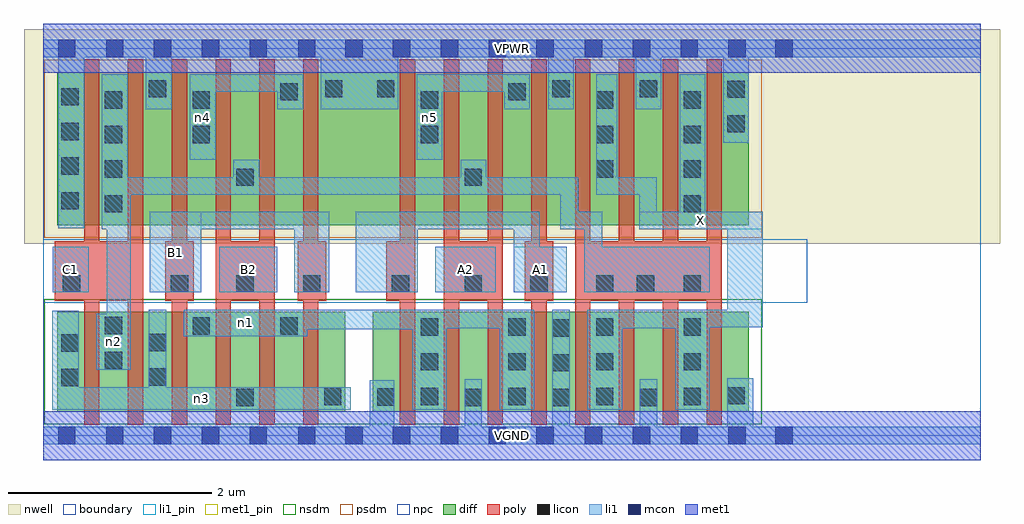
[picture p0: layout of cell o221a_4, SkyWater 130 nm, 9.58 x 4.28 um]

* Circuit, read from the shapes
.subckt o221a_4 A1 A2 B1 B2 C1 VGND VPWR X n1 n2 n3 n4 n5
XM1 n2 C1 n3 VSUBS sky130_fd_pr__nfet_01v8 w=0.98 l=0.15 m=2
XM2 n1 B1 n3 VSUBS sky130_fd_pr__nfet_01v8 w=0.98 l=0.15 m=2
XM3 n3 B2 n1 VSUBS sky130_fd_pr__nfet_01v8 w=0.98 l=0.15 m=2
XM4 n1 A1 VGND VSUBS sky130_fd_pr__nfet_01v8 w=0.98 l=0.15 m=2
XM5 VGND A2 n1 VSUBS sky130_fd_pr__nfet_01v8 w=0.98 l=0.15 m=2
XM6 X n2 VGND VSUBS sky130_fd_pr__nfet_01v8 w=0.98 l=0.15 m=4
XM7 n2 C1 VPWR n6 sky130_fd_pr__pfet_01v8 w=1.5 l=0.15 m=2
XM8 n4 B1 VPWR n6 sky130_fd_pr__pfet_01v8 w=1.5 l=0.15 m=2
XM9 n2 B2 n4 n6 sky130_fd_pr__pfet_01v8 w=1.5 l=0.15 m=2
XM10 n5 A1 VPWR n6 sky130_fd_pr__pfet_01v8 w=1.5 l=0.15 m=2
XM11 n2 A2 n5 n6 sky130_fd_pr__pfet_01v8 w=1.5 l=0.15 m=2
XM12 X n2 VPWR n6 sky130_fd_pr__pfet_01v8 w=1.5 l=0.15 m=4
.ends

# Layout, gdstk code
import gdstk
lib = gdstk.Library(unit=1e-6, precision=1e-09)
def R(c, l, rs):  # rectangles x0, y0, x1, y1
    for r in rs: c.add(gdstk.rectangle(r[:2], r[2:], *l))
def A(c, l, x, y, w, h, nx, ny, dx, dy):  # array of equal rectangles
    R(c, l, [(x+i*dx, y+j*dy, x+i*dx+w, y+j*dy+h) for i in range(nx) for j in range(ny)])
nwell = (64, 20)
diff = (65, 20)
poly = (66, 20)
licon = (66, 44)
li1_pin = (67, 16)
li1 = (67, 20)
mcon = (67, 44)
met1_pin = (68, 16)
met1 = (68, 20)
nsdm = (93, 44)
psdm = (94, 20)
npc = (95, 20)
boundary = (235, 4)

o221a_4 = lib.new_cell('o221a_4')
R(o221a_4, nwell, [(-0.19,1.885,9.39,3.99), (0,1.885,9.2,3.99)])
R(o221a_4, diff, [(0.135,0.235,2.965,1.215), (3.235,0.235,6.925,1.215), (0.135,2.065,6.925,3.565)])
A(o221a_4, poly, 0.4, 0.105, 0.15, 3.59, 6, 1, 0.43, 0)
A(o221a_4, poly, 3.5, 0.105, 0.15, 3.59, 8, 1, 0.43, 0)
R(o221a_4, poly, [(0.11,1.325,0.98,1.905), (1.195,1.325,1.475,1.905), (1.69,1.325,2.27,1.905), (2.495,1.325,2.775,1.905), (3.365,1.325,3.65,1.905), (3.93,1.325,4.51,1.905), (4.725,1.325,5.005,1.905), (5.22,1.325,6.66,1.905)])
A(o221a_4, licon, 4.135, 0.29, 0.17, 0.17, 3, 1, 0.86, 0)
A(o221a_4, licon, 3.705, 0.3, 0.17, 0.17, 4, 3, 0.86, 0.34)
A(o221a_4, licon, 4.135, 1.405, 0.17, 0.17, 3, 1, 0.645, 0)
A(o221a_4, licon, 0.605, 2.19, 0.17, 0.17, 1, 4, 0, 0.34)
A(o221a_4, licon, 6.285, 2.19, 0.17, 0.17, 1, 4, 0, 0.34)
A(o221a_4, licon, 0.175, 2.22, 0.17, 0.17, 1, 4, 0, 0.34)
A(o221a_4, licon, 5.425, 2.53, 0.17, 0.17, 1, 3, 0, 0.34)
R(o221a_4, licon, [(1.895,0.29,2.065,0.46), (3.275,0.295,3.445,0.465), (2.755,0.3,2.925,0.47), (6.715,0.305,6.885,0.475), (0.175,0.485,0.345,0.655), (1.035,0.49,1.205,0.66), (4.995,0.63,5.165,0.8), (0.605,0.655,0.775,0.825), (0.175,0.825,0.345,0.995), (1.035,0.83,1.205,1), (4.995,0.97,5.165,1.14), (1.465,0.99,1.635,1.16), (2.325,0.99,2.495,1.16), (0.605,0.995,0.775,1.165), (0.19,1.405,0.36,1.575), (1.25,1.405,1.42,1.575), (1.895,1.405,2.065,1.575), (2.55,1.405,2.72,1.575), (3.42,1.405,3.59,1.575), (5.825,1.405,5.995,1.575), (6.285,1.405,6.455,1.575), (1.895,2.45,2.065,2.62), (4.135,2.45,4.305,2.62), (1.465,2.87,1.635,3.04), (3.705,2.87,3.875,3.04), (6.715,2.975,6.885,3.145), (1.465,3.21,1.635,3.38), (3.705,3.21,3.875,3.38), (2.325,3.29,2.495,3.46), (4.565,3.29,4.735,3.46), (6.715,3.315,6.885,3.485), (1.035,3.32,1.205,3.49), (2.765,3.32,2.935,3.49), (3.275,3.32,3.445,3.49), (4.995,3.32,5.165,3.49), (5.855,3.32,6.025,3.49)])
R(o221a_4, li1_pin, [(0.09,1.405,0.445,1.855), (1.045,1.405,1.55,2.195), (1.725,1.405,2.295,1.855), (3.845,1.405,4.44,1.855), (4.615,1.405,5.135,1.855), (5.85,2.025,7.06,2.195)])
A(o221a_4, li1, 3.62, 0.255, 0.34, 0.98, 4, 1, 0.86, 0)
R(o221a_4, li1, [(0,-0.085,9.2,0.085), (3.205,-0.085,3.445,0.545), (4.135,-0.085,4.305,0.555), (4.995,-0.085,5.165,1.235), (5.855,-0.085,6.025,0.555), (6.715,-0.085,6.97,0.565), (0.085,0.255,3.015,0.475), (0.085,0.255,0.345,1.225), (1.035,0.255,1.205,1.235), (0.52,0.645,0.86,1.195), (0.62,0.645,0.86,2.535), (1.38,0.975,2.59,1.235), (1.38,1.045,3.96,1.235), (1.38,1.055,4.82,1.235), (5.34,1.055,6.54,1.235), (5.34,1.065,7.06,1.235), (6.715,1.065,7.06,2.195), (0.09,1.405,0.445,1.855), (1.045,1.405,1.55,2.195), (1.725,1.405,2.295,1.855), (2.465,1.405,2.805,2.195), (3.065,1.405,3.675,2.195), (3.845,1.405,4.44,1.855), (4.615,1.405,5.135,1.855), (4.615,1.405,4.87,2.195), (5.31,1.405,6.54,1.855), (5.31,1.405,5.485,2.195), (0.575,2.025,0.83,3.545), (1.045,2.025,2.805,2.195), (3.065,2.025,4.87,2.195), (5.075,2.025,5.485,2.195), (5.075,2.025,5.25,2.535), (5.85,2.025,7.06,2.195), (5.85,2.025,6.02,2.535), (6.245,2.025,6.495,3.545), (0.145,2.035,0.4,3.885), (0.575,2.365,5.25,2.535), (1.865,2.365,2.12,2.705), (4.095,2.365,4.345,2.705), (5.425,2.365,5.635,3.545), (5.425,2.365,6.02,2.535), (1.435,2.705,1.69,3.545), (3.665,2.705,3.915,3.545), (6.675,2.875,6.925,3.885), (1.005,3.205,1.26,3.885), (2.295,3.205,2.55,3.545), (2.725,3.205,3.485,3.885), (4.525,3.205,4.775,3.545), (4.955,3.205,5.205,3.885), (5.815,3.205,6.065,3.885), (1.435,3.375,2.55,3.545), (3.665,3.375,4.775,3.545), (0,3.715,9.2,3.885)])
A(o221a_4, mcon, 0.145, -0.085, 0.17, 0.17, 5, 2, 0.47, 3.8)
A(o221a_4, mcon, 2.5, -0.085, 0.17, 0.17, 3, 2, 0.465, 3.8)
A(o221a_4, mcon, 3.9, -0.085, 0.17, 0.17, 3, 2, 0.47, 3.8)
A(o221a_4, mcon, 5.315, -0.085, 0.17, 0.17, 4, 2, 0.47, 3.8)
R(o221a_4, mcon, [(7.185,-0.085,7.355,0.085), (7.185,3.715,7.355,3.885)])
R(o221a_4, met1_pin, [(0,-0.24,9.2,0.24), (0,3.56,9.2,4.04)])
R(o221a_4, met1, [(0,-0.24,9.2,0.24), (0,3.56,9.2,4.04)])
R(o221a_4, nsdm, [(0.01,0.11,7.05,1.34)])
R(o221a_4, psdm, [(0.01,1.94,7.05,3.69)])
R(o221a_4, npc, [(0,1.305,7.5,1.925)])
R(o221a_4, boundary, [(0,0,9.2,3.8)])
o221a_4.add(gdstk.Label('A1', (4.875,1.63), layer=67, texttype=5))
o221a_4.add(gdstk.Label('A2', (4.142,1.63), layer=67, texttype=5))
o221a_4.add(gdstk.Label('B1', (1.297,1.8), layer=67, texttype=5))
o221a_4.add(gdstk.Label('B2', (2.01,1.63), layer=67, texttype=5))
o221a_4.add(gdstk.Label('C1', (0.267,1.63), layer=67, texttype=5))
o221a_4.add(gdstk.Label('X', (6.455,2.11), layer=67, texttype=5))
o221a_4.add(gdstk.Label('n3', (1.55,0.365), layer=67, texttype=5))
o221a_4.add(gdstk.Label('n1', (1.985,1.105), layer=67, texttype=5))
o221a_4.add(gdstk.Label('n2', (0.69,0.92), layer=67, texttype=5))
o221a_4.add(gdstk.Label('n4', (1.562,3.125), layer=67, texttype=5))
o221a_4.add(gdstk.Label('n5', (3.79,3.125), layer=67, texttype=5))
o221a_4.add(gdstk.Label('VPWR', (4.6,3.8), layer=68, texttype=5))
o221a_4.add(gdstk.Label('VGND', (4.6,0), layer=68, texttype=5))
o221a_4.add(gdstk.Label('A1', (4.875,1.63), layer=67, texttype=16))
o221a_4.add(gdstk.Label('A2', (4.142,1.63), layer=67, texttype=16))
o221a_4.add(gdstk.Label('B1', (1.297,1.8), layer=67, texttype=16))
o221a_4.add(gdstk.Label('B2', (2.01,1.63), layer=67, texttype=16))
o221a_4.add(gdstk.Label('C1', (0.267,1.63), layer=67, texttype=16))
o221a_4.add(gdstk.Label('X', (6.455,2.11), layer=67, texttype=16))
o221a_4.add(gdstk.Label('VPWR', (4.6,3.8), layer=68, texttype=16))
o221a_4.add(gdstk.Label('VGND', (4.6,0), layer=68, texttype=16))

lib.write_gds('o221a_4.gds')
